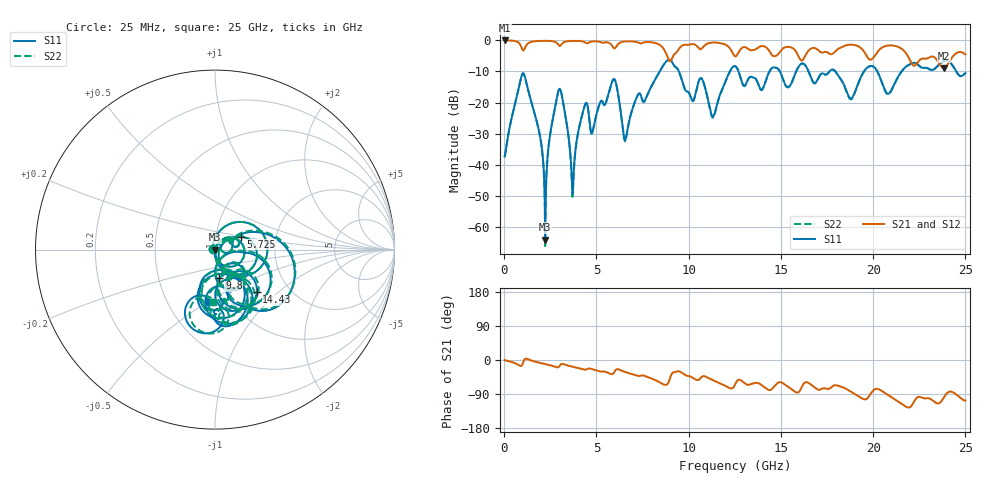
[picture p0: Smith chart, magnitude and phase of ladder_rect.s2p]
! R_s4_rect_cap5: kisi's ladder with the plane pair as a finite cavity (rect) (Finite board 24 × 16 mm, via L1 → L4, a capacitor between the planes 5 mm away, no return via)
# Hz S RI R 50
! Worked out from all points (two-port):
!   1000 points, 25 MHz to 25 GHz, reference 50 ohm
!   highest |S21| = -0.12 dB at 25 MHz (marker M1); lowest = -9.0 dB at 23.82 GHz (marker M2)
!   |S21| within 3 dB of the highest: 1.078 GHz to 8.678 GHz (7.6 GHz wide, 156 % of centre); 9.437 GHz to 12.29 GHz (2.853 GHz wide, 26.3 % of centre) (the widest 2 of 9)
!   lowest |S11| = -63.9 dB at 2.225 GHz (marker M3), VSWR 1.00, Z = 50.1 - j0.0318 ohm
!   |S11| at or under -10 dB: start of sweep to 8.435 GHz; 9.47 GHz to 12.24 GHz (2.768 GHz wide, 25.5 % of centre); 12.7 GHz to 14.38 GHz (1.679 GHz wide, 12.4 % of centre) (the widest 3 of 8)
!   |S22| runs from -66.0 to -6.3 dB; largest |S21 - S12| = 0
!   S11 on the Smith chart (normalised r, x): 25 MHz: 0.97, +0.00; 5.725 GHz: 1.33, +0.20; 9.8 GHz: 1.00, -0.33; 14.43 GHz: 1.38, -0.74; 25 GHz: 0.79, -0.51
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2.5e7  -0.0134 0.00247  0.9864 -0.0045  0.9864 -0.0045  -0.0134 0.00247
1.05e9  0.2885 -0.0361  0.6805 -0.0495  0.6805 -0.0495  0.2886 -0.035
2.225e9  0.000554 -0.000318  0.9559 -0.1794  0.9559 -0.1794  0.000419 -0.000273
2.95e9  0.153 0.0291  0.7902 -0.267  0.7902 -0.267  0.1525 0.0307
3.7e9  0.00308 -0.00158  0.9245 -0.2938  0.9245 -0.2938  0.00274 -0.0014
4.2e9  0.0348 0.0472  0.8799 -0.3816  0.8799 -0.3816  0.0336 0.0479
4.8e9  0.0297 0.0178  0.8674 -0.3968  0.8674 -0.3968  0.0288 0.0185
5.725e9  0.146 0.0725  0.718 -0.5215  0.718 -0.5215  0.1439 0.0759
6.05e9  0.1636 -0.1324  0.6856 -0.3339  0.6856 -0.3339  0.1657 -0.1285
6.575e9  0.0253 -0.00226  0.8077 -0.5029  0.8077 -0.5029  0.0244 -0.00107
8.35e9  0.2705 0.0913  0.4727 -0.7221  0.4727 -0.7221  0.2669 0.1004
9.8e9  0.0249 -0.16  0.6511 -0.5333  0.6511 -0.5333  0.0287 -0.1579
1.07e10  0.1043 -0.2197  0.5148 -0.512  0.5148 -0.512  0.1109 -0.2144
1.1325e10  0.0424 -0.0418  0.5449 -0.7346  0.5449 -0.7346  0.0424 -0.0381
1.2525e10  0.2434 -0.2944  0.241 -0.4916  0.241 -0.4916  0.2547 -0.2822
1.4425e10  0.2328 -0.2378  0.1171 -0.6196  0.1171 -0.6196  0.2433 -0.2241
1.6675e10  -0.0342 -0.2331  0.2939 -0.6795  0.2939 -0.6795  -0.0228 -0.2318
1.88e10  0.016 -0.1146  0.0932 -0.841  0.0932 -0.841  0.0223 -0.1099
1.9925e10  0.0277 -0.3836  0.042 -0.4922  0.042 -0.4922  0.0514 -0.3787
2.085e10  0.0305 -0.1355  -0.0521 -0.8192  -0.0521 -0.8192  0.0393 -0.1298
2.3825e10  -0.0174 -0.461  -0.0583 -0.3502  -0.0583 -0.3502  0.0166 -0.4591
2.5e10  -0.0341 -0.2941  -0.1758 -0.5639  -0.1758 -0.5639  -0.0112 -0.2937
